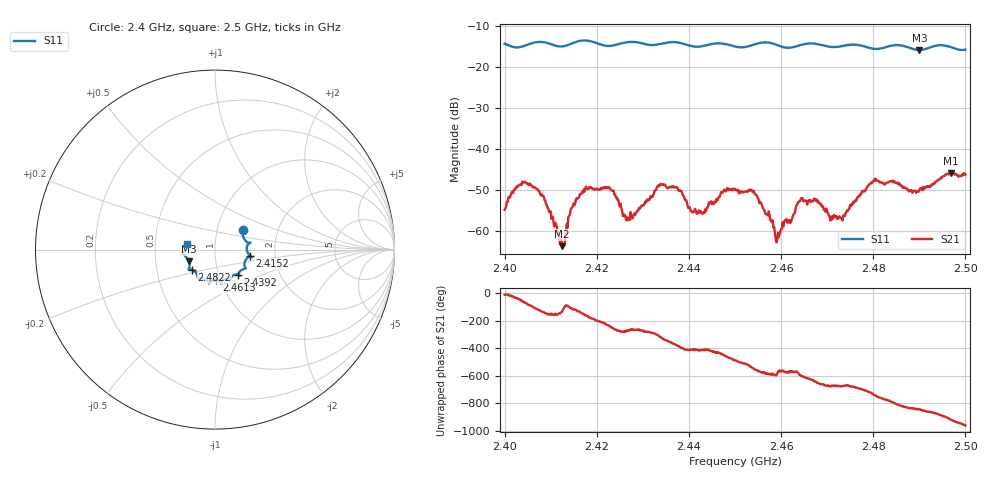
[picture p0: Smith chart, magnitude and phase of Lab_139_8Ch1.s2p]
# Hz S RI R 50
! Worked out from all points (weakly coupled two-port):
!   601 points, 2.4 GHz to 2.5 GHz, reference 50 ohm
!   highest |S21| = -45.83 dB at 2.4968 GHz (marker M1); lowest = -63.7 dB at 2.4125 GHz (marker M2)
!   lowest |S11| = -15.9 dB at 2.49 GHz (marker M3), VSWR 1.38, Z = 36.9 - j4.86 ohm
!   |S11| at or under -10 dB: start of sweep to end of sweep
!   S12 and S22 are empty: the file has one direction only
!   S11 on the Smith chart (normalised r, x): 2.4 GHz: 1.33, +0.31; 2.4152 GHz: 1.48, -0.11; 2.4392 GHz: 1.23, -0.36; 2.4613 GHz: 0.96, -0.34; 2.4822 GHz: 0.76, -0.17; 2.5 GHz: 0.72, +0.05
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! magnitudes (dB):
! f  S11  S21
! 2.4 GHz  -14.4  -54.8
! 2.4028 GHz  -15.3  -49.1
! 2.406 GHz  -14.2  -49.1
! 2.4125 GHz  -15.0  -63.7
! 2.4152 GHz  -14.1  -53.7
! 2.4167 GHz  -13.6  -50.9
! 2.4227 GHz  -14.9  -49.3
! 2.4267 GHz  -14.0  -56.6
! 2.4333 GHz  -14.5  -48.9
! 2.4392 GHz  -14.5  -52.4
! 2.4428 GHz  -15.0  -55.7
! 2.45 GHz  -15.0  -49.7
! 2.4545 GHz  -14.4  -51.1
! 2.4592 GHz  -14.7  -62.0
! 2.4613 GHz  -15.3  -57.9
! 2.4667 GHz  -14.3  -52.7
! 2.4728 GHz  -15.0  -56.6
! 2.4822 GHz  -15.4  -48.4
! 2.4833 GHz  -15.0  -48.1
! 2.49 GHz  -15.9  -50.0
! 2.4968 GHz  -15.2  -45.8
! 2.5 GHz  -15.8  -46.3
